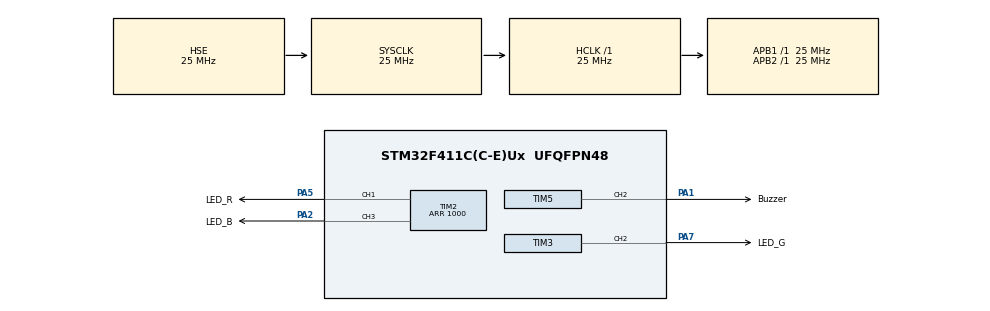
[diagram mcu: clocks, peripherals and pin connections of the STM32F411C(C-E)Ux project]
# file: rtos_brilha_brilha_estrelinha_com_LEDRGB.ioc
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FREERTOS.Queues01=notaQueue,5,6,1,Dynamic,NULL,NULL
FREERTOS.Tasks01=musicTask,24,256,MusicTask,Default,NULL,Dynamic,NULL,NULL;controlTask,32,128,ControlTask,Default,NULL,Dynamic,NULL,NULL
Mcu.Family=STM32F4
Mcu.Name=STM32F411C(C-E)Ux
Mcu.Package=UFQFPN48
NVIC.PriorityGroup=NVIC_PRIORITYGROUP_4
NVIC.TIM1_UP_TIM10_IRQn=true\:15\:0\:false\:false\:true\:false\:false\:true\:true
NVIC.TimeBase=TIM1_UP_TIM10_IRQn
NVIC.TimeBaseIP=TIM1
PA1.GPIO_Label=Buzzer
PA1.Signal=S_TIM5_CH2
PA13.Mode=Serial_Wire
PA13.Signal=SYS_JTMS-SWDIO
PA14.Mode=Serial_Wire
PA14.Signal=SYS_JTCK-SWCLK
PA2.GPIO_Label=LED_B
PA2.Signal=S_TIM2_CH3
PA5.GPIO_Label=LED_R
PA5.Signal=S_TIM2_CH1_ETR
PA7.GPIO_Label=LED_G
PA7.Signal=S_TIM3_CH2
PH0\ -\ OSC_IN.Mode=HSE-External-Oscillator
PH0\ -\ OSC_IN.Signal=RCC_OSC_IN
PH1\ -\ OSC_OUT.Mode=HSE-External-Oscillator
PH1\ -\ OSC_OUT.Signal=RCC_OSC_OUT
ProjectManager.HeapSize=0x200
ProjectManager.StackSize=0x400
ProjectManager.TargetToolchain=STM32CubeIDE
RCC.48MHZClocksFreq_Value=75000000
RCC.AHBFreq_Value=25000000
RCC.APB1Freq_Value=25000000
RCC.APB1TimFreq_Value=25000000
RCC.APB2Freq_Value=25000000
RCC.APB2TimFreq_Value=25000000
RCC.CortexFreq_Value=25000000
RCC.HCLKFreq_Value=25000000
RCC.HSE_VALUE=25000000
RCC.HSI_VALUE=16000000
RCC.LSE_VALUE=32768
RCC.PLLSourceVirtual=RCC_PLLSOURCE_HSE
RCC.SYSCLKFreq_VALUE=25000000
RCC.SYSCLKSource=RCC_SYSCLKSOURCE_HSE
RCC.VCOOutputFreq_Value=300000000
SH.S_TIM2_CH1_ETR.0=TIM2_CH1,PWM Generation1 CH1
SH.S_TIM2_CH3.0=TIM2_CH3,PWM Generation3 CH3
SH.S_TIM3_CH2.0=TIM3_CH2,PWM Generation2 CH2
SH.S_TIM5_CH2.0=TIM5_CH2,PWM Generation2 CH2
TIM2.Channel-PWM\ Generation1\ CH1=TIM_CHANNEL_1
TIM2.Channel-PWM\ Generation3\ CH3=TIM_CHANNEL_3
TIM2.Period=1000
TIM3.Channel-PWM\ Generation2\ CH2=TIM_CHANNEL_2
TIM3.Period=1000
TIM5.Channel-PWM\ Generation2\ CH2=TIM_CHANNEL_2
TIM5.Period=1000
VP_FREERTOS_VS_CMSIS_V2.Mode=CMSIS_V2
VP_SYS_VS_tim1.Mode=TIM1
board=custom

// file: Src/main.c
/* USER CODE BEGIN Header */
/**
  ******************************************************************************
  * @file           : main.c
  * @brief          : Main program body
  ******************************************************************************
  * @attention
  *
  * Copyright (c) 2026 STMicroelectronics.
  * All rights reserved.
  *
  * This software is licensed under terms that can be found in the LICENSE file
  * in the root directory of this software component.
  * If no LICENSE file comes with this software, it is provided AS-IS.
  *
  ******************************************************************************
  */
/* USER CODE END Header */
#include "main.h"
#include "cmsis_os.h"
#include "tim.h"
#include "gpio.h"

/* USER CODE BEGIN PD */
/**
 * @def SYSCLK_HZ
 * @brief Frequência do clock do sistema em Hz.
 */
#define SYSCLK_HZ 16000000U

/**
 * @def LED_PWM_MAX
 * @brief Valor máximo utilizado para o duty cycle do PWM do LED.
 */
#define LED_PWM_MAX 1000
/* USER CODE END PD */

void SystemClock_Config(void);
void MX_FREERTOS_Init(void);

int main(void)
{

  /* MCU Configuration--------------------------------------------------------*/

  /* Reset of all peripherals, Initializes the Flash interface and the Systick. */
  HAL_Init();

  /* Configure the system clock */
  SystemClock_Config();

  /* Initialize all configured peripherals */
  MX_GPIO_Init();
  MX_TIM2_Init();
  MX_TIM3_Init();
  MX_TIM5_Init();

  /* USER CODE BEGIN 2 */
  HAL_TIM_PWM_Start(&htim2, TIM_CHANNEL_1);
  HAL_TIM_PWM_Start(&htim2, TIM_CHANNEL_3);
  HAL_TIM_PWM_Start(&htim3, TIM_CHANNEL_2);
  HAL_TIM_PWM_Start(&htim5, TIM_CHANNEL_2);

  /* USER CODE END 2 */

  /* Init scheduler */
  osKernelInitialize();  /* Call init function for freertos objects (in cmsis_os2.c) */
  MX_FREERTOS_Init();

  /* Start scheduler */
  osKernelStart();

  /* We should never get here as control is now taken by the scheduler */

  /* Infinite loop */
  while (1)
  {

  }
}

void SystemClock_Config(void)
{
  RCC_OscInitTypeDef RCC_OscInitStruct = {0};
  RCC_ClkInitTypeDef RCC_ClkInitStruct = {0};

  /** Configure the main internal regulator output voltage
  */
  __HAL_RCC_PWR_CLK_ENABLE();
  __HAL_PWR_VOLTAGESCALING_CONFIG(PWR_REGULATOR_VOLTAGE_SCALE1);

  /** Initializes the RCC Oscillators according to the specified parameters
  * in the RCC_OscInitTypeDef structure.
  */
  RCC_OscInitStruct.OscillatorType = RCC_OSCILLATORTYPE_HSE;
  RCC_OscInitStruct.HSEState = RCC_HSE_ON;
  RCC_OscInitStruct.PLL.PLLState = RCC_PLL_NONE;
  if (HAL_RCC_OscConfig(&RCC_OscInitStruct) != HAL_OK)
  {
    Error_Handler();
  }

  /** Initializes the CPU, AHB and APB buses clocks
  */
  RCC_ClkInitStruct.ClockType = RCC_CLOCKTYPE_HCLK|RCC_CLOCKTYPE_SYSCLK
                              |RCC_CLOCKTYPE_PCLK1|RCC_CLOCKTYPE_PCLK2;
  RCC_ClkInitStruct.SYSCLKSource = RCC_SYSCLKSOURCE_HSE;
  RCC_ClkInitStruct.AHBCLKDivider = RCC_SYSCLK_DIV1;
  RCC_ClkInitStruct.APB1CLKDivider = RCC_HCLK_DIV1;
  RCC_ClkInitStruct.APB2CLKDivider = RCC_HCLK_DIV1;

  if (HAL_RCC_ClockConfig(&RCC_ClkInitStruct, FLASH_LATENCY_0) != HAL_OK)
  {
    Error_Handler();
  }
}

/* USER CODE BEGIN 4 */
/**
 * @brief Ajusta a frequência do buzzer utilizando PWM.
 *
 * @param freq Frequência desejada em Hz.
 *
 * @details
 * A frequência é obtida ajustando o valor do registrador ARR do Timer 5.
 * O duty cycle é configurado para 50% para gerar uma onda quadrada.
 *
 * Caso a frequência seja zero, o buzzer é desligado.
 */

void buzzer_set_freq(uint16_t freq)
{
    if(freq == 0)
    {
        __HAL_TIM_SET_COMPARE(&htim5, TIM_CHANNEL_2, 0);
        return;
    }

    uint32_t arr = SYSCLK_HZ / freq;

    __HAL_TIM_SET_AUTORELOAD(&htim5, arr);
    __HAL_TIM_SET_COMPARE(&htim5, TIM_CHANNEL_2, arr / 2);

    __HAL_TIM_SET_COUNTER(&htim5, 0);      // zera contador
    htim5.Instance->EGR = TIM_EGR_UG;      // força update imediato
}

/**
 * @brief Define a cor do LED RGB utilizando PWM.
 *
 * @param r Intensidade do canal vermelho (0–255)
 * @param g Intensidade do canal verde (0–255)
 * @param b Intensidade do canal azul (0–255)
 *
 * @details
 * Os valores de intensidade são escalados para o valor máximo de PWM
 * definido por LED_PWM_MAX e enviados para os canais PWM dos timers
 * responsáveis pelo LED RGB.
 */

void led_set_rgb(uint8_t r, uint8_t g, uint8_t b)
{
    __HAL_TIM_SET_COMPARE(&htim2, TIM_CHANNEL_1, (r * LED_PWM_MAX) / 255);
    __HAL_TIM_SET_COMPARE(&htim3, TIM_CHANNEL_2, (g * LED_PWM_MAX) / 255);
    __HAL_TIM_SET_COMPARE(&htim2, TIM_CHANNEL_3, (b * LED_PWM_MAX) / 255);
}

/* USER CODE END 4 */

void HAL_TIM_PeriodElapsedCallback(TIM_HandleTypeDef *htim)
{
  if (htim->Instance == TIM1)
  {
    HAL_IncTick();
  }
}

void Error_Handler(void)
{
  __disable_irq();
  while (1)
  {
  }
}

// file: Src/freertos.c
/* USER CODE BEGIN Header */
/**
  ******************************************************************************
  * @file           : freertos.c
  * @brief          : Reprodução de melodia com buzzer e controle de LED RGB via FreeRTOS
  * @author         : Pedro Henrique Guerra
  * @date           : 20/04/2026
  *
  * @details
  * Este firmware implementa a reprodução da música "Brilha Brilha Estrelinha"
  * utilizando um buzzer controlado por frequência e um LED RGB sincronizado
  * com cada nota musical.
  *
  * A arquitetura do sistema é baseada em FreeRTOS utilizando o modelo
  * Produtor–Consumidor:
  *
  * - MusicTask (Produtor):
  *      Percorre a sequência musical e envia notas para uma fila.
  *
  * - ControlTask (Consumidor):
  *      Recebe as notas da fila e aplica no hardware (buzzer + LED RGB).
  *
  * Comunicação entre tarefas:
  * - Utiliza uma fila (queue) para garantir sincronização e desacoplamento.
  *
  * Fluxo de execução:
  *
  * MusicTask → Queue → ControlTask → Hardware (Buzzer + LED)
  *
  * Características do sistema:
  * - Execução não bloqueante entre tarefas
  * - Separação clara entre lógica musical e controle físico
  * - Facilidade de expansão (novas músicas ou efeitos)
  *
  ******************************************************************************
  * @attention
  *
  * Copyright (c) 2026 STMicroelectronics.
  * All rights reserved.
  *
  * This software is licensed under terms that can be found in the LICENSE file
  * in the root directory of this software component.
  * If no LICENSE file comes with this software, it is provided AS-IS.
  *
  ******************************************************************************
  */
/* USER CODE END Header */

#include "FreeRTOS.h"
#include "task.h"
#include "main.h"
#include "cmsis_os.h"

/* USER CODE BEGIN PTD */
/**
 * @struct Nota
 * @brief Representa uma nota musical associada a uma cor RGB.
 *
 * @details
 * Esta estrutura encapsula todos os parâmetros necessários para
 * representar um evento musical completo:
 *
 * - freq: Frequência da nota (Hz) aplicada ao buzzer
 * - r,g,b: Intensidade dos canais RGB (0–255)
 * - dur: Duração relativa da nota (multiplicador de tempo base)
 *
 * Isso permite sincronizar áudio e efeito visual de forma simples.
 */
typedef struct {
    uint16_t freq;
    uint8_t r;
    uint8_t g;
    uint8_t b;
    uint8_t dur;
} Nota;
/* USER CODE END PTD */

/* USER CODE BEGIN PD */

/**
 * @def C4
 * @brief nota C4 e sua respectiva frequência audível
 */
#define C4 261
/**
 * @def D4
 * @brief nota D4 e sua respectiva frequência audível
 */
#define D4 294
/**
 * @def E4
 * @brief nota E4 e sua respectiva frequência audível
 */
#define E4 329
/**
 * @def F4
 * @brief nota F4 e sua respectiva frequência audível
 */
#define F4 349
/**
 * @def G4
 * @brief nota G4 e sua respectiva frequência audível
 */
#define G4 392
/**
 * @def A4
 * @brief nota A4 e sua respectiva frequência audível
 */
#define A4 440
/**
 * @def B4
 * @brief nota B4 e sua respectiva frequência audível
 */
#define B4 494
/**
 * @def C5
 * @brief nota C5 e sua respectiva frequência audível
 */
#define C5 523
/**
 * @def PAUSA
 * @brief valor do intervalo entre cada nota
 */
#define PAUSA 0
/**
 * @def MUSICA_LEN
 * @brief tamanho da musica a ser tocada
 */
#define MUSICA_LEN (sizeof(musica)/sizeof(Nota))
/* USER CODE END PD */

/* USER CODE BEGIN PM */
/**
 * @brief Sequência de notas que compõem a música.
 *
 * @details
 * Cada elemento define:
 * - frequência da nota
 * - cor do LED RGB
 * - duração relativa da nota
 *
 * A música executada é uma variação de "Brilha brilha estrelinha".
 */
static const Nota musica[] = {
		{C4,255,0,0,1},{C4,255,0,0,1},{G4,0,0,255,1},{G4,0,0,255,1},
		{A4,75,0,130,1},{A4,75,0,130,1},{G4,0,0,255,2},

		{F4,0,255,0,1},{F4,0,255,0,1},{E4,255,255,0,1},{E4,255,255,0,1},
		{D4,255,127,0,1},{D4,255,127,0,1},{C4,255,0,0,2},

		{G4,0,0,255,1},{G4,0,0,255,1},{F4,0,255,0,1},{F4,0,255,0,1},
		{E4,255,255,0,1},{E4,255,255,0,1},{D4,255,127,0,2},

		{G4,0,0,255,1},{G4,0,0,255,1},{F4,0,255,0,1},{F4,0,255,0,1},
		{E4,255,255,0,1},{E4,255,255,0,1},{D4,255,127,0,2},

		{C4,255,0,0,1},{C4,255,0,0,1},{G4,0,0,255,1},{G4,0,0,255,1},
		{A4,75,0,130,1},{A4,75,0,130,1},{G4,0,0,255,2},

		{F4,0,255,0,1},{F4,0,255,0,1},{E4,255,255,0,1},{E4,255,255,0,1},
		{D4,255,127,0,1},{D4,255,127,0,1},{C4,255,0,0,2},
};
/* USER CODE END PM */

/* Definitions for musicTask */
osThreadId_t musicTaskHandle;
const osThreadAttr_t musicTask_attributes = {
  .name = "musicTask",
  .stack_size = 256 * 4,
  .priority = (osPriority_t) osPriorityNormal,
};
/* Definitions for controlTask */
osThreadId_t controlTaskHandle;
const osThreadAttr_t controlTask_attributes = {
  .name = "controlTask",
  .stack_size = 128 * 4,
  .priority = (osPriority_t) osPriorityAboveNormal,
};
/* Definitions for notaQueue */
/**
 * @brief Fila de comunicação entre MusicTask e ControlTask.
 *
 * @details
 * Esta fila transporta estruturas do tipo Nota entre tarefas:
 *
 * - MusicTask (produtor): envia notas da sequência musical
 * - ControlTask (consumidor): recebe e aplica no hardware
 *
 * @note
 * O uso de fila garante sincronização e desacoplamento entre as tarefas.
 */
osMessageQueueId_t notaQueueHandle;
const osMessageQueueAttr_t notaQueue_attributes = {
  .name = "notaQueue"
};

void MusicTask(void *argument);
void ControlTask(void *argument);

void MX_FREERTOS_Init(void); /* (MISRA C 2004 rule 8.1) */

void MX_FREERTOS_Init(void) {

  /* Create the queue(s) */
  /* creation of notaQueue */
  notaQueueHandle = osMessageQueueNew (5, sizeof(Nota), NULL);

  /* Create the thread(s) */
  /* creation of musicTask */
  musicTaskHandle = osThreadNew(MusicTask, NULL, &musicTask_attributes);

  /* creation of controlTask */
  controlTaskHandle = osThreadNew(ControlTask, NULL, &controlTask_attributes);

}

/* USER CODE BEGIN Header_MusicTask */
/**
 * @brief Tarefa responsável por executar a sequência musical.
 *
 * @details
 * Esta tarefa percorre o vetor de notas (musica[]) e envia cada nota
 * para a fila notaQueue.
 *
 * Para cada nota:
 * - Envia a nota para a fila
 * - Aguarda o tempo proporcional à duração
 * - Envia uma pausa (nota com frequência zero)
 *
 * Após completar a sequência, aguarda antes de reiniciar.
 *
 * @param argument Parâmetro não utilizado
 *
 * @note
 * Esta tarefa atua como produtora no modelo produtor-consumidor.
 */
/* USER CODE END Header_MusicTask */

void MusicTask(void *argument)
{
  /* USER CODE BEGIN MusicTask */
  /* Infinite loop */
    Nota pausa = {0,0,0,0,0};

    while(1)
    {
        for(uint32_t i = 0; i < MUSICA_LEN; i++)
        {
            osMessageQueuePut(notaQueueHandle, &musica[i], 0, osWaitForever);

            osDelay(400 * musica[i].dur);

            osMessageQueuePut(notaQueueHandle, &pausa, 0, osWaitForever);

            osDelay(70);
        }

        osDelay(5000);
    }
  /* USER CODE END MusicTask */
}

/* USER CODE BEGIN Header_ControlTask */
/**
 * @brief Tarefa responsável por aplicar as notas no hardware.
 *
 * @details
 * Esta tarefa aguarda por mensagens na fila notaQueue e,
 * ao receber uma nota:
 *
 * - Atualiza a frequência do buzzer
 * - Atualiza a cor do LED RGB
 *
 * @param argument Parâmetro não utilizado
 *
 * @note
 * Esta tarefa atua como consumidora no modelo produtor-consumidor.
 *
 * @warning
 * Esta tarefa deve ter prioridade maior para garantir resposta imediata.
 */
/* USER CODE END Header_ControlTask */
void ControlTask(void *argument)
{
  /* USER CODE BEGIN ControlTask */
  /* Infinite loop */
	Nota nota;

	    while(1)
	    {
	        if(osMessageQueueGet(notaQueueHandle, &nota, NULL, osWaitForever) == osOK)
	        {
	            buzzer_set_freq(nota.freq);
	            led_set_rgb(nota.r, nota.g, nota.b);
	        }
	    }
  /* USER CODE END ControlTask */
}
